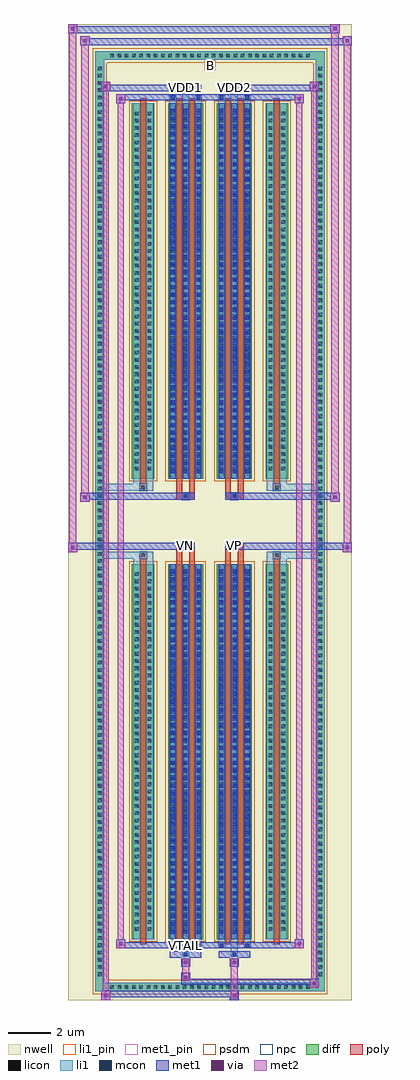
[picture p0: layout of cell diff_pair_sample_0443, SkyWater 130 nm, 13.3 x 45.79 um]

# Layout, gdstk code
import gdstk
lib = gdstk.Library(unit=1e-6, precision=5e-09)
def R(c, l, rs):  # rectangles x0, y0, x1, y1
    for r in rs: c.add(gdstk.rectangle(r[:2], r[2:], *l))
def A(c, l, x, y, w, h, nx, ny, dx, dy):  # array of equal rectangles
    R(c, l, [(x+i*dx, y+j*dy, x+i*dx+w, y+j*dy+h) for i in range(nx) for j in range(ny)])
def P(c, l, *ps):  # polygons
    for p in ps: c.add(gdstk.Polygon(p, *l))
nwell = (64, 20)
diff = (65, 20)
poly = (66, 20)
licon = (66, 44)
li1_pin = (67, 16)
li1 = (67, 20)
mcon = (67, 44)
met1_pin = (68, 16)
met1 = (68, 20)
via = (68, 44)
met2 = (69, 20)
psdm = (94, 20)
npc = (95, 20)

diff_pair_sample_0443 = lib.new_cell('diff_pair_sample_0443')
R(diff_pair_sample_0443, nwell, [(-6.65,-22.46,6.65,23.33), (-3.97,-20.65,-0.01,-0.815), (0.01,-20.65,3.97,-0.815), (-3.97,0.815,-0.01,20.65), (0.01,0.815,3.97,20.65)])
A(diff_pair_sample_0443, diff, -4.795, -22.06, 0.41, 0.41, 28, 2, 0.34, 43.71)
A(diff_pair_sample_0443, diff, -5.38, -21.455, 0.41, 0.41, 1, 126, 0, 0.34)
A(diff_pair_sample_0443, diff, 4.97, -21.455, 0.41, 0.41, 1, 126, 0, 0.34)
R(diff_pair_sample_0443, diff, [(-4.795,-22.06,4.795,-21.65), (-5.38,-21.455,-4.97,21.455), (4.97,-21.455,5.38,21.455), (-3.66,-19.605,-2.61,-2.005), (-1.97,-19.605,-0.32,-2.005), (0.32,-19.605,1.97,-2.005), (2.61,-19.605,3.66,-2.005), (-3.66,2.005,-2.61,19.605), (-1.97,2.005,-0.32,19.605), (0.32,2.005,1.97,19.605), (2.61,2.005,3.66,19.605), (-4.795,21.65,4.795,22.06)])
P(diff_pair_sample_0443, diff, [(5.38,22.06),(-5.38,22.06),(-5.38,-21.65),(-4.97,-21.65),(-4.97,21.65),(4.97,21.65),(4.97,-21.65),(-4.97,-21.65),(-5.38,-21.65),(-5.38,-22.06),(5.38,-22.06)])
R(diff_pair_sample_0443, poly, [(-3.27,-19.855,-3,-1.755), (-1.58,-19.855,-1.31,-1.755), (-0.98,-19.855,-0.71,-1.755), (0.71,-19.855,0.98,-1.755), (1.31,-19.855,1.58,-1.755), (3,-19.855,3.27,-1.755), (-3.3,-1.755,-2.97,-1.425), (-3.3,-1.755,-2.97,-1.425), (-1.58,-1.755,-1.31,-1.345), (-0.98,-1.755,-0.71,-1.345), (0.71,-1.755,0.98,-1.345), (1.31,-1.755,1.58,-1.345), (2.97,-1.755,3.3,-1.425), (2.97,-1.755,3.3,-1.425), (-1.58,-1.345,-0.71,-1.015), (-1.31,-1.345,-0.98,-1.015), (0.71,-1.345,1.58,-1.015), (0.98,-1.345,1.31,-1.015), (-1.58,1.015,-0.71,1.345), (-1.31,1.015,-0.98,1.345), (0.71,1.015,1.58,1.345), (0.98,1.015,1.31,1.345), (-1.58,1.345,-1.31,1.755), (-0.98,1.345,-0.71,1.755), (0.71,1.345,0.98,1.755), (1.31,1.345,1.58,1.755), (-3.3,1.425,-2.97,1.755), (-3.3,1.425,-2.97,1.755), (2.97,1.425,3.3,1.755), (2.97,1.425,3.3,1.755), (-3.27,1.755,-3,19.855), (-1.58,1.755,-1.31,19.855), (-0.98,1.755,-0.71,19.855), (0.71,1.755,0.98,19.855), (1.31,1.755,1.58,19.855), (3,1.755,3.27,19.855)])
A(diff_pair_sample_0443, licon, -4.675, -21.94, 0.17, 0.17, 28, 2, 0.34, 43.71)
A(diff_pair_sample_0443, licon, -5.26, -21.335, 0.17, 0.17, 1, 126, 0, 0.34)
A(diff_pair_sample_0443, licon, 5.09, -21.335, 0.17, 0.17, 1, 126, 0, 0.34)
A(diff_pair_sample_0443, licon, -3.52, -19.22, 0.17, 0.17, 1, 50, 0, 0.34)
A(diff_pair_sample_0443, licon, -2.92, -19.22, 0.17, 0.17, 1, 50, 0, 0.34)
A(diff_pair_sample_0443, licon, -1.83, -19.22, 0.17, 0.17, 3, 50, 0.6, 0.34)
A(diff_pair_sample_0443, licon, 0.46, -19.22, 0.17, 0.17, 3, 50, 0.6, 0.34)
A(diff_pair_sample_0443, licon, 2.75, -19.22, 0.17, 0.17, 1, 50, 0, 0.34)
A(diff_pair_sample_0443, licon, 3.35, -19.22, 0.17, 0.17, 1, 50, 0, 0.34)
A(diff_pair_sample_0443, licon, -3.52, 2.39, 0.17, 0.17, 1, 50, 0, 0.34)
A(diff_pair_sample_0443, licon, -2.92, 2.39, 0.17, 0.17, 1, 50, 0, 0.34)
A(diff_pair_sample_0443, licon, -1.83, 2.39, 0.17, 0.17, 3, 50, 0.6, 0.34)
A(diff_pair_sample_0443, licon, 0.46, 2.39, 0.17, 0.17, 3, 50, 0.6, 0.34)
A(diff_pair_sample_0443, licon, 2.75, 2.39, 0.17, 0.17, 1, 50, 0, 0.34)
A(diff_pair_sample_0443, licon, 3.35, 2.39, 0.17, 0.17, 1, 50, 0, 0.34)
R(diff_pair_sample_0443, licon, [(-3.22,-1.675,-3.05,-1.505), (3.05,-1.675,3.22,-1.505), (-1.23,-1.265,-1.06,-1.095), (1.06,-1.265,1.23,-1.095), (-1.23,1.095,-1.06,1.265), (1.06,1.095,1.23,1.265), (-3.22,1.505,-3.05,1.675), (3.05,1.505,3.22,1.675)])
R(diff_pair_sample_0443, li1_pin, [(-0.25,21.15,0.25,21.65)])
A(diff_pair_sample_0443, li1, -4.755, -22.02, 0.33, 0.33, 28, 2, 0.34, 43.71)
A(diff_pair_sample_0443, li1, -5.34, -21.415, 0.33, 0.33, 1, 126, 0, 0.34)
A(diff_pair_sample_0443, li1, 5.01, -21.415, 0.33, 0.33, 1, 126, 0, 0.34)
A(diff_pair_sample_0443, li1, -1.91, -19.605, 0.33, 17.6, 3, 2, 0.6, 21.61)
A(diff_pair_sample_0443, li1, 0.38, -19.605, 0.33, 17.6, 3, 2, 0.6, 21.61)
A(diff_pair_sample_0443, li1, -1.83, -19.35, 0.17, 0.17, 3, 48, 0.6, 0.36)
A(diff_pair_sample_0443, li1, -1.83, -19.35, 0.17, 17.09, 3, 2, 0.6, 21.61)
A(diff_pair_sample_0443, li1, 0.46, -19.35, 0.17, 0.17, 3, 48, 0.6, 0.36)
A(diff_pair_sample_0443, li1, 0.46, -19.35, 0.17, 17.09, 3, 2, 0.6, 21.61)
A(diff_pair_sample_0443, li1, -3.6, -19.3, 0.33, 0.33, 1, 50, 0, 0.34)
A(diff_pair_sample_0443, li1, -3, -19.3, 0.33, 0.33, 1, 50, 0, 0.34)
A(diff_pair_sample_0443, li1, -1.91, -19.3, 0.33, 0.33, 3, 50, 0.6, 0.34)
A(diff_pair_sample_0443, li1, 0.38, -19.3, 0.33, 0.33, 3, 50, 0.6, 0.34)
A(diff_pair_sample_0443, li1, 2.67, -19.3, 0.33, 0.33, 1, 50, 0, 0.34)
A(diff_pair_sample_0443, li1, 3.27, -19.3, 0.33, 0.33, 1, 50, 0, 0.34)
A(diff_pair_sample_0443, li1, -1.83, 2.26, 0.17, 0.17, 3, 48, 0.6, 0.36)
A(diff_pair_sample_0443, li1, 0.46, 2.26, 0.17, 0.17, 3, 48, 0.6, 0.36)
A(diff_pair_sample_0443, li1, -3.6, 2.31, 0.33, 0.33, 1, 50, 0, 0.34)
A(diff_pair_sample_0443, li1, -3, 2.31, 0.33, 0.33, 1, 50, 0, 0.34)
A(diff_pair_sample_0443, li1, -1.91, 2.31, 0.33, 0.33, 3, 50, 0.6, 0.34)
A(diff_pair_sample_0443, li1, 0.38, 2.31, 0.33, 0.33, 3, 50, 0.6, 0.34)
A(diff_pair_sample_0443, li1, 2.67, 2.31, 0.33, 0.33, 1, 50, 0, 0.34)
A(diff_pair_sample_0443, li1, 3.27, 2.31, 0.33, 0.33, 1, 50, 0, 0.34)
R(diff_pair_sample_0443, li1, [(-5.38,-22.06,-4.97,-21.65), (-5.38,-22.06,-4.97,-21.65), (-4.97,-22.06,4.97,-21.65), (4.97,-22.06,5.38,-21.65), (4.97,-22.06,5.38,-21.65), (-5.38,-21.65,-4.97,21.65), (4.97,-21.65,5.38,21.65), (-1.31,-20.41,-0.98,-19.605), (-1.23,-20.41,-1.06,-20.24), (0.98,-20.41,1.31,-19.605), (1.06,-20.41,1.23,-20.24), (-1.91,-19.98,-1.58,-19.605), (-1.83,-19.98,-1.66,-19.81), (-0.71,-19.98,-0.38,-19.605), (-0.63,-19.98,-0.46,-19.81), (0.38,-19.98,0.71,-19.605), (0.46,-19.98,0.63,-19.81), (1.58,-19.98,1.91,-19.605), (1.66,-19.98,1.83,-19.81), (-3.6,-19.605,-3.27,-2.005), (-3,-19.605,-2.67,-2.005), (2.67,-19.605,3,-2.005), (3.27,-19.605,3.6,-2.005), (-3.6,-2.005,-3.27,-1.425), (-3,-2.005,-2.67,-1.425), (2.67,-2.005,3,-1.425), (3.27,-2.005,3.6,-1.425), (-5.38,-1.755,-3.3,-1.425), (-3.6,-1.755,-3.3,-1.425), (-3.3,-1.755,-2.97,-1.425), (-2.97,-1.755,-2.67,-1.425), (2.67,-1.755,2.97,-1.425), (2.97,-1.755,3.3,-1.425), (2.97,-1.755,5.38,-1.425), (3.3,-1.755,3.6,-1.425), (-1.31,-1.345,-0.98,-1.015), (0.98,-1.345,1.31,-1.015), (-1.31,1.015,-0.98,1.345), (0.98,1.015,1.31,1.345), (-5.38,1.425,-3.3,1.755), (-3.6,1.425,-3.3,1.755), (-3.6,1.425,-3.27,2.005), (-3.3,1.425,-2.97,1.755), (-3,1.425,-2.67,2.005), (-2.97,1.425,-2.67,1.755), (2.67,1.425,2.97,1.755), (2.67,1.425,3,2.005), (2.97,1.425,3.3,1.755), (2.97,1.425,5.38,1.755), (3.27,1.425,3.6,2.005), (3.3,1.425,3.6,1.755), (-3.6,2.005,-3.27,19.605), (-3,2.005,-2.67,19.605), (2.67,2.005,3,19.605), (3.27,2.005,3.6,19.605), (-1.91,19.605,-1.58,19.98), (-1.31,19.605,-0.98,20.41), (-0.71,19.605,-0.38,19.98), (0.38,19.605,0.71,19.98), (0.98,19.605,1.31,20.41), (1.58,19.605,1.91,19.98), (-1.83,19.81,-1.66,19.98), (-0.63,19.81,-0.46,19.98), (0.46,19.81,0.63,19.98), (1.66,19.81,1.83,19.98), (-1.23,20.24,-1.06,20.41), (1.06,20.24,1.23,20.41), (-5.38,21.65,-4.97,22.06), (-5.38,21.65,-4.97,22.06), (-4.97,21.65,4.97,22.06), (4.97,21.65,5.38,22.06), (4.97,21.65,5.38,22.06)])
A(diff_pair_sample_0443, mcon, -1.83, -19.35, 0.17, 0.17, 3, 48, 0.6, 0.36)
A(diff_pair_sample_0443, mcon, 0.46, -19.35, 0.17, 0.17, 3, 48, 0.6, 0.36)
A(diff_pair_sample_0443, mcon, -1.83, 2.26, 0.17, 0.17, 3, 48, 0.6, 0.36)
A(diff_pair_sample_0443, mcon, 0.46, 2.26, 0.17, 0.17, 3, 48, 0.6, 0.36)
R(diff_pair_sample_0443, mcon, [(-1.23,-20.41,-1.06,-20.24), (1.06,-20.41,1.23,-20.24), (-1.83,-19.98,-1.66,-19.81), (-0.63,-19.98,-0.46,-19.81), (0.46,-19.98,0.63,-19.81), (1.66,-19.98,1.83,-19.81), (-1.23,-1.265,-1.06,-1.095), (1.06,-1.265,1.23,-1.095), (-1.23,1.095,-1.06,1.265), (1.06,1.095,1.23,1.265), (-1.83,19.81,-1.66,19.98), (-0.63,19.81,-0.46,19.98), (0.46,19.81,0.63,19.98), (1.66,19.81,1.83,19.98), (-1.23,20.24,-1.06,20.41), (1.06,20.24,1.23,20.41)])
R(diff_pair_sample_0443, met1_pin, [(-1.28,-20.02,-1.01,-19.75), (-1.28,-1.285,-1.01,-1.015), (1.01,-1.285,1.28,-1.015), (-1.28,20.2,-1.01,20.47), (1.01,20.2,1.28,20.47)])
A(diff_pair_sample_0443, met1, -1.89, -19.605, 0.29, 17.6, 3, 2, 0.6, 21.61)
A(diff_pair_sample_0443, met1, 0.4, -19.605, 0.29, 17.6, 3, 2, 0.6, 21.61)
A(diff_pair_sample_0443, met1, -1.89, -19.41, 0.29, 0.29, 3, 48, 0.6, 0.36)
A(diff_pair_sample_0443, met1, 0.4, -19.41, 0.29, 0.29, 3, 48, 0.6, 0.36)
A(diff_pair_sample_0443, met1, -1.89, 2.2, 0.29, 0.29, 3, 48, 0.6, 0.36)
A(diff_pair_sample_0443, met1, 0.4, 2.2, 0.29, 0.29, 3, 48, 0.6, 0.36)
R(diff_pair_sample_0443, met1, [(-5.11,-22.46,-4.68,-22.03), (0.93,-22.46,1.36,-22.03), (-5.11,-22.32,1.36,-22.03), (4.68,-21.89,5.11,-21.46), (-1.36,-21.75,5.11,-21.46), (-1.36,-21.61,-0.93,-21.18), (-1.36,-20.9,-0.93,-20.47), (0.93,-20.9,1.36,-20.47), (-1.89,-20.47,-0.4,-20.18), (-1.29,-20.47,-1,-20.18), (0.4,-20.47,1.89,-20.18), (1,-20.47,1.29,-20.18), (-4.4,-20.04,-3.97,-19.61), (-4.4,-20.04,-1.89,-19.75), (-1.89,-20.04,-1.6,-19.75), (-1.89,-20.04,-0.4,-19.75), (-0.69,-20.04,-0.4,-19.75), (-0.4,-20.04,0.4,-19.75), (0.4,-20.04,0.69,-19.75), (0.4,-20.04,1.89,-19.75), (1.6,-20.04,1.89,-19.75), (1.89,-20.04,4.4,-19.75), (3.97,-20.04,4.4,-19.61), (-6.65,-1.445,-6.22,-1.015), (6.22,-1.445,6.65,-1.015), (-6.65,-1.345,-0.71,-1.015), (-1.58,-1.345,-0.71,-1.015), (0.71,-1.345,1.58,-1.015), (0.71,-1.345,6.65,-1.015), (-1.29,-1.325,-1,-1.035), (1,-1.325,1.29,-1.035), (-6.08,0.915,-5.65,1.345), (5.65,0.915,6.08,1.345), (-6.08,1.015,-1.58,1.345), (-1.58,1.015,-0.71,1.345), (0.71,1.015,1.58,1.345), (1.58,1.015,6.08,1.345), (-1.29,1.035,-1,1.325), (1,1.035,1.29,1.325), (-4.4,19.61,-3.97,20.04), (3.97,19.61,4.4,20.04), (-4.4,19.75,-1.89,20.04), (-1.89,19.75,-1.6,20.04), (-1.89,19.75,-0.4,20.04), (-0.69,19.75,-0.4,20.04), (-0.4,19.75,0.4,20.04), (0.4,19.75,0.69,20.04), (0.4,19.75,1.89,20.04), (1.6,19.75,1.89,20.04), (1.89,19.75,4.4,20.04), (-5.11,20.18,-4.68,20.61), (-5.11,20.18,-1.89,20.47), (-1.89,20.18,-0.4,20.47), (-1.29,20.18,-1,20.47), (0.4,20.18,1.89,20.47), (1,20.18,1.29,20.47), (1.89,20.18,5.11,20.47), (4.68,20.18,5.11,20.61), (-6.08,22.33,-5.65,22.76), (-6.08,22.33,-3.97,22.66), (-3.97,22.33,3.97,22.66), (3.97,22.33,6.65,22.66), (6.22,22.33,6.65,22.76), (-6.65,22.9,-6.22,23.33), (-6.65,22.9,-3.97,23.23), (-3.97,22.9,3.97,23.23), (3.97,22.9,6.08,23.23), (5.65,22.9,6.08,23.33)])
R(diff_pair_sample_0443, via, [(-4.97,-22.32,-4.82,-22.17), (1.07,-22.32,1.22,-22.17), (4.82,-21.75,4.97,-21.6), (-1.22,-21.47,-1.07,-21.32), (-1.22,-20.76,-1.07,-20.61), (1.07,-20.76,1.22,-20.61), (-4.26,-19.9,-4.11,-19.75), (4.11,-19.9,4.26,-19.75), (-6.51,-1.305,-6.36,-1.155), (6.36,-1.305,6.51,-1.155), (-5.94,1.055,-5.79,1.205), (5.79,1.055,5.94,1.205), (-4.26,19.75,-4.11,19.9), (4.11,19.75,4.26,19.9), (-4.97,20.32,-4.82,20.47), (4.82,20.32,4.97,20.47), (-5.94,22.47,-5.79,22.62), (6.36,22.47,6.51,22.62), (-6.51,23.04,-6.36,23.19), (5.79,23.04,5.94,23.19)])
R(diff_pair_sample_0443, met2, [(-5.11,-22.46,-4.68,-22.03), (-5.04,-22.46,-4.75,20.61), (-4.75,-22.46,-4.68,-22.03), (-5.06,-22.41,-4.73,-22.08), (0.98,-22.41,1.31,-22.08), (0.98,-22.08,1.31,-20.85), (4.68,-21.89,5.11,-21.46), (4.75,-21.89,5.04,20.61), (5.04,-21.89,5.11,-21.46), (4.73,-21.84,5.06,-21.51), (-1.31,-21.56,-0.98,-21.23), (-1.31,-21.23,-0.98,-20.85), (-1.31,-20.85,-0.98,-20.52), (0.98,-20.85,1.31,-20.52), (-4.4,-20.04,-3.97,-19.61), (-4.33,-20.04,-4.04,20.04), (-4.04,-20.04,-3.97,-19.61), (3.97,-20.04,4.4,-19.61), (4.04,-20.04,4.33,20.04), (4.33,-20.04,4.4,-19.61), (-4.35,-19.99,-4.02,-19.66), (4.02,-19.99,4.35,-19.66), (-6.65,-1.445,-6.22,-1.015), (-6.6,-1.445,-6.27,23.33), (-6.27,-1.445,-6.22,-1.015), (6.22,-1.445,6.65,-1.015), (6.27,-1.445,6.6,22.76), (6.6,-1.445,6.65,-1.015), (-6.6,-1.395,-6.27,-1.065), (6.27,-1.395,6.6,-1.065), (-6.08,0.915,-5.65,1.345), (-6.03,0.915,-5.7,22.76), (-5.7,0.915,-5.65,1.345), (5.65,0.915,6.08,1.345), (5.7,0.915,6.03,23.33), (6.03,0.915,6.08,1.345), (-6.03,0.965,-5.7,1.295), (5.7,0.965,6.03,1.295), (-4.4,19.61,-3.97,20.04), (-4.04,19.61,-3.97,20.04), (3.97,19.61,4.4,20.04), (4.33,19.61,4.4,20.04), (-4.35,19.66,-4.02,19.99), (4.02,19.66,4.35,19.99), (-5.11,20.18,-4.68,20.61), (-4.75,20.18,-4.68,20.61), (4.68,20.18,5.11,20.61), (5.04,20.18,5.11,20.61), (-5.06,20.23,-4.73,20.56), (4.73,20.23,5.06,20.56), (-6.08,22.33,-5.65,22.76), (-5.7,22.33,-5.65,22.76), (6.22,22.33,6.65,22.76), (6.6,22.33,6.65,22.76), (-6.03,22.38,-5.7,22.71), (6.27,22.38,6.6,22.71), (-6.65,22.9,-6.22,23.33), (-6.27,22.9,-6.22,23.33), (5.65,22.9,6.08,23.33), (6.03,22.9,6.08,23.33), (-6.6,22.95,-6.27,23.28), (5.7,22.95,6.03,23.28)])
R(diff_pair_sample_0443, psdm, [(-3.79,-19.735,-2.48,-1.875), (-2.1,-19.735,-0.19,-1.875), (0.19,-19.735,2.1,-1.875), (2.48,-19.735,3.79,-1.875), (-3.79,1.875,-2.48,19.735), (-2.1,1.875,-0.19,19.735), (0.19,1.875,2.1,19.735), (2.48,1.875,3.79,19.735)])
P(diff_pair_sample_0443, psdm, [(5.51,22.19),(-5.51,22.19),(-5.51,-21.52),(-4.84,-21.52),(-4.84,21.52),(4.84,21.52),(4.84,-21.52),(-4.84,-21.52),(-5.51,-21.52),(-5.51,-22.19),(5.51,-22.19)])
R(diff_pair_sample_0443, npc, [(-3.32,-1.775,-2.95,-1.405), (2.95,-1.775,3.32,-1.405), (-1.33,-1.365,-0.96,-0.995), (0.96,-1.365,1.33,-0.995), (-1.33,0.995,-0.96,1.365), (0.96,0.995,1.33,1.365), (-3.32,1.405,-2.95,1.775), (2.95,1.405,3.32,1.775)])
diff_pair_sample_0443.add(gdstk.Label('VTAIL', (-1.145,-19.885), layer=68, texttype=5))
diff_pair_sample_0443.add(gdstk.Label('VN', (-1.145,-1.15), layer=68, texttype=5))
diff_pair_sample_0443.add(gdstk.Label('VP', (1.145,-1.15), layer=68, texttype=5))
diff_pair_sample_0443.add(gdstk.Label('B', (0,21.4), layer=67, texttype=5))
diff_pair_sample_0443.add(gdstk.Label('VDD2', (1.145,20.335), layer=68, texttype=5))
diff_pair_sample_0443.add(gdstk.Label('VDD1', (-1.145,20.335), layer=68, texttype=5))

lib.write_gds('diff_pair_sample_0443.gds')
